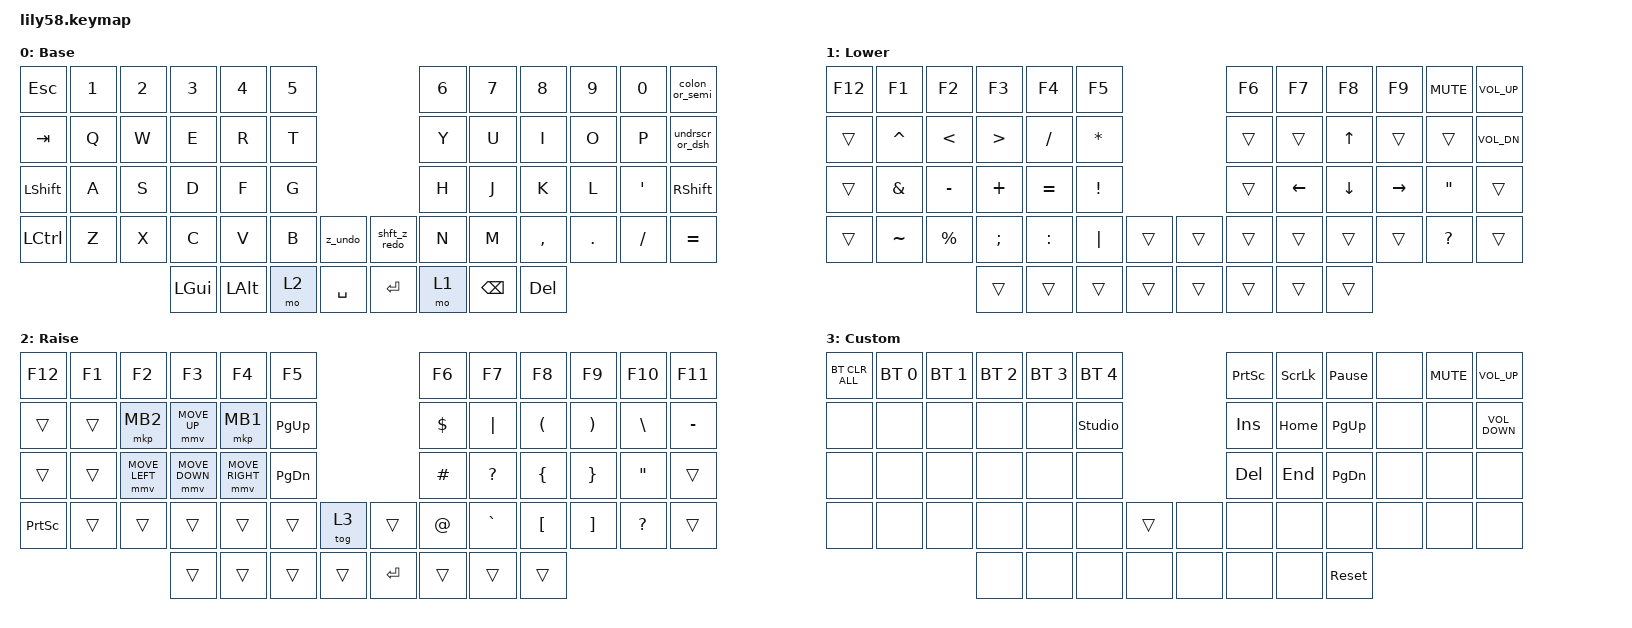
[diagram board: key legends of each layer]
/*
 * Copyright (c) 2020 The ZMK Contributors
 *
 * SPDX-License-Identifier: MIT
 */

#include <behaviors.dtsi>
#include <dt-bindings/zmk/bt.h>
#include <dt-bindings/zmk/keys.h>
#include <dt-bindings/zmk/pointing.h>

#define default_layer 0
#define lower_layer 1
#define raise_layer 2
#define adjust_layer 3
#define extra_layer 4

/ {
    behaviors {
        kp_tap_kp_hold: kp_tap_kp_hold {
            compatible = "zmk,behavior-hold-tap";
            label = "KP_TAP_KP_HOLD";
            bindings = <&kp>, <&kp>;

            #binding-cells = <2>;
            tapping-term-ms = <400>;
            flavor = "hold-preferred";
        };

        undrscr_or_dsh: undrscr_or_dsh {
            compatible = "zmk,behavior-mod-morph";
            label = "UNDRSCR_OR_DSH";
            bindings = <&kp UNDER>, <&kp KP_MINUS>;

            #binding-cells = <0>;
            mods = <(MOD_LCTL|MOD_LSFT|MOD_LALT|MOD_RCTL|MOD_RSFT|MOD_RALT)>;
        };

        colon_or_semi: colon_or_semi {
            compatible = "zmk,behavior-mod-morph";
            label = "COLON_OR_SEMI";
            bindings = <&kp COLON>, <&kp SEMI>;

            #binding-cells = <0>;
            mods = <(MOD_LCTL|MOD_LSFT|MOD_LALT|MOD_RCTL|MOD_RSFT|MOD_RALT)>;
        };
    };

    macros {
        z_undo: z_undo {
            compatible = "zmk,behavior-macro";
            #binding-cells = <0>;
            bindings = <&kp LC(Z)>, <&macro_press>;

            label = "Z_UNDO";
        };

        shft_z_redo: shft_z_redo {
            compatible = "zmk,behavior-macro";
            #binding-cells = <0>;
            bindings = <&kp LC(LS(Z))>, <&macro_press>;

            label = "SHFT_Z_REDO";
        };
    };

    keymap {
        compatible = "zmk,keymap";

        default_layer {
            display-name = "Base";

            // ------------------------------------------------------------------------------------------------------------
            // |  ESC  |  1  |  2  |  3   |  4   |  5   |                   |  6   |  7    |  8    |  9   |   0   |   `   |
            // |  TAB  |  Q  |  W  |  E   |  R   |  T   |                   |  Y   |  U    |  I    |  O   |   P   |   -   |
            // |  CTRL |  A  |  S  |  D   |  F   |  G   |                   |  H   |  J    |  K    |  L   |   ;   |   '   |
            // | SHIFT |  Z  |  X  |  C   |  V   |  B   |   "["  |  |  "]"  |  N   |  M    |  ,    |  .   |   /   | SHIFT |
            //                     | ALT  | GUI  | LOWER|  SPACE |  | ENTER | RAISE| BSPC  | GUI   |

            bindings = <
&kp ESC           &kp N1  &kp N2  &kp N3        &kp N4        &kp N5                             &kp N6  &kp N7         &kp N8      &kp N9   &kp N0          &colon_or_semi
&kp TAB           &kp Q   &kp W   &kp E         &kp R         &kp T                              &kp Y   &kp U          &kp I       &kp O    &kp P           &undrscr_or_dsh
&kp LEFT_SHIFT    &kp A   &kp S   &kp D         &kp F         &kp G                              &kp H   &kp J          &kp K       &kp L    &kp APOSTROPHE  &kp RIGHT_SHIFT
&kp LEFT_CONTROL  &kp Z   &kp X   &kp C         &kp V         &kp B   &z_undo      &shft_z_redo  &kp N   &kp M          &kp COMMA   &kp DOT  &kp FSLH        &kp EQUAL
                                  &kp LEFT_GUI  &kp LEFT_ALT  &mo 2   &kp SPACE    &kp ENTER     &mo 1   &kp BACKSPACE  &kp DELETE
            >;
        };

        lower_layer {
            display-name = "Lower";

            // ------------------------------------------------------------------------------------------------------------
            // | BTCLR | BT1 | BT2 |  BT3 |  BT4 |  BT5 |                   |      |       |       |      |       |       |
            // |  F1   |  F2 |  F3 |  F4  |  F5  |  F6  |                   |  F7  |  F8   |  F9   |  F10 |  F11  |  F12  |
            // |   `   |  !  |  @  |  #   |  $   |  %   |                   |  ^   |  &    |  *    |  (   |   )   |   ~   |
            // |       |     |     |      |      |      |        |  |       |      |  _    |  +    |  {   |   }   |  "|"  |
            //                     |      |      |      |        |  |       |      |       |       |

            bindings = <
&kp F12  &kp F1     &kp F2         &kp F3            &kp F4     &kp F5                          &kp F6  &kp F7          &kp F8          &kp F9           &kp C_MUTE         &kp C_VOL_UP
&trans   &kp CARET  &kp LESS_THAN  &kp GREATER_THAN  &kp SLASH  &kp ASTERISK                    &trans  &trans          &kp UP_ARROW    &trans           &trans             &kp C_VOL_DN
&trans   &kp AMPS   &kp MINUS      &kp PLUS          &kp EQUAL  &kp EXCL                        &trans  &kp LEFT_ARROW  &kp DOWN_ARROW  &kp RIGHT_ARROW  &kp DOUBLE_QUOTES  &trans
&trans   &kp TILDE  &kp PERCENT    &kp SEMICOLON     &kp COLON  &kp PIPE      &trans    &trans  &trans  &trans          &trans          &trans           &kp QUESTION       &trans
                                   &trans            &trans     &trans        &trans    &trans  &trans  &trans          &trans
            >;
        };

        raise_layer {
            display-name = "Raise";

            // ------------------------------------------------------------------------------------------------------------
            // |       |     |     |      |      |      |                   |      |       |       |      |       |       |
            // |   `   |  1  |  2  |  3   |  4   |  5   |                   |  6   |   7   |   8   |  9   |   0   |       |
            // |   F1  |  F2 |  F3 |  F4  |  F5  |  F6  |                   |      |   <-  |   v   |  ^   |  ->   |       |
            // |   F7  |  F8 |  F9 |  F10 |  F11 |  F12 |        |  |       |  +   |   -   |   =   |  [   |   ]   |   \   |
            //                     |      |      |      |        |  |       |      |       |       |

            bindings = <
&kp F12          &kp F1  &kp F2          &kp F3          &kp F4           &kp F5                              &kp F6       &kp F7        &kp F8                &kp F9                 &kp F10            &kp F11
&trans           &trans  &mkp MB2        &mmv MOVE_UP    &mkp MB1         &kp PG_UP                           &kp DOLLAR   &kp PIPE      &kp LEFT_PARENTHESIS  &kp RIGHT_PARENTHESIS  &kp BACKSLASH      &kp MINUS
&trans           &trans  &mmv MOVE_LEFT  &mmv MOVE_DOWN  &mmv MOVE_RIGHT  &kp PAGE_DOWN                       &kp HASH     &kp QUESTION  &kp LEFT_BRACE        &kp RIGHT_BRACE        &kp DOUBLE_QUOTES  &trans
&kp PRINTSCREEN  &trans  &trans          &trans          &trans           &trans         &tog 3    &trans     &kp AT_SIGN  &kp GRAVE     &kp LEFT_BRACKET      &kp RIGHT_BRACKET      &kp QUESTION       &trans
                                         &trans          &trans           &trans         &trans    &kp ENTER  &trans       &trans        &trans
            >;
        };

        custom_functions {
            display-name = "Custom";
            bindings = <
&bt BT_CLR_ALL  &bt BT_SEL 0  &bt BT_SEL 1  &bt BT_SEL 2  &bt BT_SEL 3  &bt BT_SEL 4                     &kp PRINTSCREEN  &kp SCROLLLOCK  &kp PAUSE_BREAK  &none  &kp C_MUTE  &kp C_VOLUME_UP
&none           &none         &none         &none         &none         &studio_unlock                   &kp INSERT       &kp HOME        &kp PAGE_UP      &none  &none       &kp C_VOLUME_DOWN
&none           &none         &none         &none         &none         &none                            &kp DELETE       &kp END         &kp PAGE_DOWN    &none  &none       &none
&none           &none         &none         &none         &none         &none           &trans    &none  &none            &none           &none            &none  &none       &none
                                            &none         &none         &none           &none     &none  &none            &none           &sys_reset
            >;
        };
    };

    conditional_layers {
        compatible = "zmk,conditional-layers";

        raise_and_lower {
            if-layers = <1 2>;
            then-layer = <3>;
        };
    };
};
